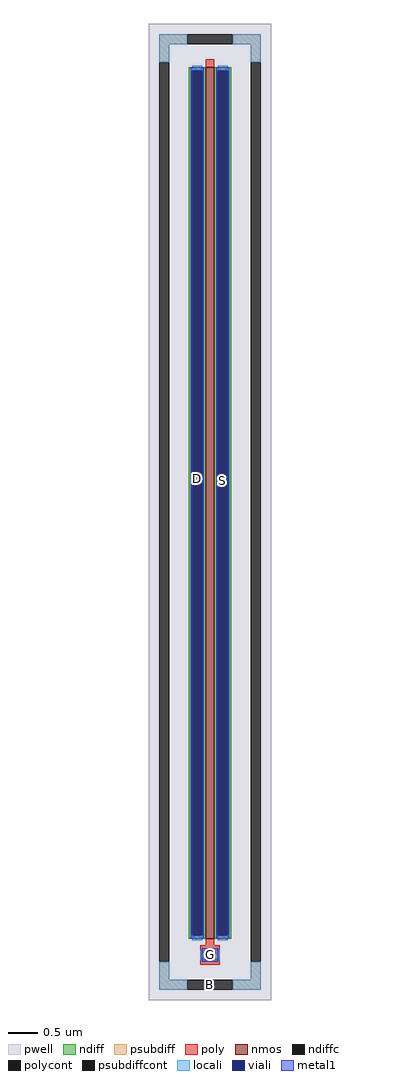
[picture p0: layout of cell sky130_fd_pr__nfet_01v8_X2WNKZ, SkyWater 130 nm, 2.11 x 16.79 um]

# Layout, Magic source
magic
tech sky130A
magscale 1 2
<< pwell >>
rect -211 -1679 211 1679
<< nmos >>
rect -15 -1469 15 1531
<< ndiff >>
rect -73 1519 -15 1531
rect -73 -1457 -61 1519
rect -27 -1457 -15 1519
rect -73 -1469 -15 -1457
rect 15 1519 73 1531
rect 15 -1457 27 1519
rect 61 -1457 73 1519
rect 15 -1469 73 -1457
<< ndiffc >>
rect -61 -1457 -27 1519
rect 27 -1457 61 1519
<< psubdiff >>
rect -175 1609 -79 1643
rect 79 1609 175 1643
rect -175 1547 -141 1609
rect 141 1547 175 1609
rect -175 -1609 -141 -1547
rect 141 -1609 175 -1547
rect -175 -1643 -79 -1609
rect 79 -1643 175 -1609
<< psubdiffcont >>
rect -79 1609 79 1643
rect -175 -1547 -141 1547
rect 141 -1547 175 1547
rect -79 -1643 79 -1609
<< poly >>
rect -15 1531 15 1557
rect -15 -1491 15 -1469
rect -33 -1507 33 -1491
rect -33 -1541 -17 -1507
rect 17 -1541 33 -1507
rect -33 -1557 33 -1541
<< polycont >>
rect -17 -1541 17 -1507
<< locali >>
rect -175 1609 -79 1643
rect 79 1609 175 1643
rect -175 1547 -141 1609
rect 141 1547 175 1609
rect -61 1519 -27 1535
rect -61 -1473 -27 -1457
rect 27 1519 61 1535
rect 27 -1473 61 -1457
rect -33 -1541 -17 -1507
rect 17 -1541 33 -1507
rect -175 -1609 -141 -1547
rect 141 -1609 175 -1547
rect -175 -1643 -79 -1609
rect 79 -1643 175 -1609
<< viali >>
rect -61 -1457 -27 1519
rect 27 -1457 61 1519
rect -17 -1541 17 -1507
<< metal1 >>
rect -67 1519 -21 1531
rect -67 -1457 -61 1519
rect -27 -1457 -21 1519
rect -67 -1469 -21 -1457
rect 21 1519 67 1531
rect 21 -1457 27 1519
rect 61 -1457 67 1519
rect 21 -1469 67 -1457
rect -29 -1507 29 -1501
rect -29 -1541 -17 -1507
rect 17 -1541 29 -1507
rect -29 -1547 29 -1541
<< labels >>
flabel metal1 s 0 -1524 0 -1524 0 FreeSans 480 0 0 0 G
port 0 nsew
flabel metal1 s -42 114 -42 114 0 FreeSans 480 0 0 0 D
port 1 nsew
flabel metal1 s 43 110 43 110 0 FreeSans 480 0 0 0 S
port 2 nsew
flabel locali s -1 -1625 -1 -1625 0 FreeSans 480 0 0 0 B
port 3 nsew
<< properties >>
string FIXED_BBOX -158 -1626 158 1626
string gencell sky130_fd_pr__nfet_01v8
string library sky130
string parameters w 15.0 l 0.15 m 1 nf 1 diffcov 100 polycov 100 guard 1 glc 1 grc 1 gtc 1 gbc 1 tbcov 100 rlcov 100 topc 0 botc 1 poverlap 0 doverlap 1 lmin 0.15 wmin 0.42 compatible {sky130_fd_pr__nfet_01v8 sky130_fd_pr__nfet_01v8_lvt  sky130_fd_bs_flash__special_sonosfet_star  sky130_fd_pr__nfet_g5v0d10v5 sky130_fd_pr__nfet_05v0_nvt  sky130_fd_pr__nfet_03v3_nvt} full_metal 1 viasrc 100 viadrn 100 viagate 100 viagb 0 viagr 0 viagl 0 viagt 0
<< end >>
